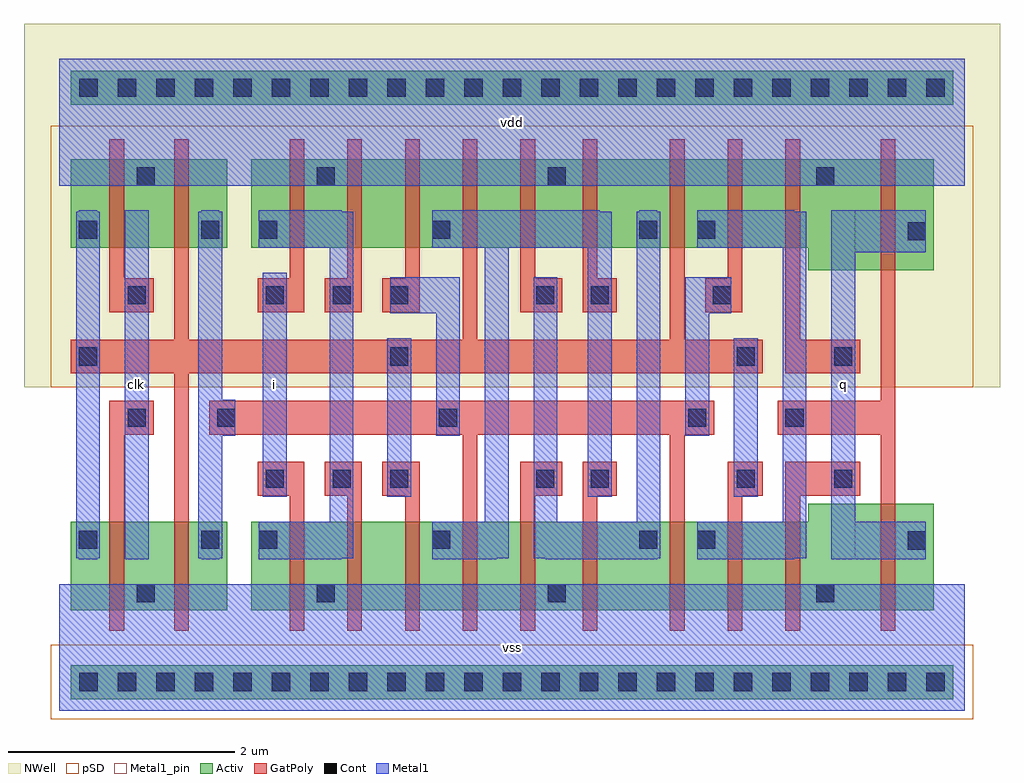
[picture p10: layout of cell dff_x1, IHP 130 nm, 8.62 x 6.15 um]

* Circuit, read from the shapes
.subckt dff_x1 clk i q vdd vss
XM1 vss clk n1 vss sg13_lv_nmos w=0.78u l=0.13u
XM2 n2 n1 vss vss sg13_lv_nmos w=0.78u l=0.13u
XM3 vss i n3 vss sg13_lv_nmos w=0.78u l=0.13u
XM4 n4 n3 vss vss sg13_lv_nmos w=0.78u l=0.13u
XM5 n5 n1 n4 vss sg13_lv_nmos w=0.78u l=0.13u
XM6 n6 n2 n5 vss sg13_lv_nmos w=0.78u l=0.13u
XM7 vss n7 n6 vss sg13_lv_nmos w=0.78u l=0.13u
XM8 n7 n5 vss vss sg13_lv_nmos w=0.78u l=0.13u
XM9 n8 n2 n7 vss sg13_lv_nmos w=0.78u l=0.13u
XM10 n9 n1 n8 vss sg13_lv_nmos w=0.78u l=0.13u
XM11 vss q n9 vss sg13_lv_nmos w=0.78u l=0.13u
XM12 q n8 vss vss sg13_lv_nmos w=0.94u l=0.13u
XM13 vdd clk n1 vdd sg13_lv_pmos w=0.78u l=0.13u
XM14 n2 n1 vdd vdd sg13_lv_pmos w=0.78u l=0.13u
XM15 vdd i n3 vdd sg13_lv_pmos w=0.78u l=0.13u
XM16 n10 n3 vdd vdd sg13_lv_pmos w=0.78u l=0.13u
XM17 n5 n2 n10 vdd sg13_lv_pmos w=0.78u l=0.13u
XM18 n11 n1 n5 vdd sg13_lv_pmos w=0.78u l=0.13u
XM19 vdd n7 n11 vdd sg13_lv_pmos w=0.78u l=0.13u
XM20 n7 n5 vdd vdd sg13_lv_pmos w=0.78u l=0.13u
XM21 n8 n1 n7 vdd sg13_lv_pmos w=0.78u l=0.13u
XM22 n12 n2 n8 vdd sg13_lv_pmos w=0.78u l=0.13u
XM23 vdd q n12 vdd sg13_lv_pmos w=0.78u l=0.13u
XM24 q n8 vdd vdd sg13_lv_pmos w=0.98u l=0.13u
.ends

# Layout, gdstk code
import gdstk
lib = gdstk.Library(unit=1e-6, precision=1e-09)
def R(c, l, rs):  # rectangles x0, y0, x1, y1
    for r in rs: c.add(gdstk.rectangle(r[:2], r[2:], *l))
def P(c, l, *ps):  # polygons
    for p in ps: c.add(gdstk.Polygon(p, *l))
Activ = (1, 0)
GatPoly = (5, 0)
Cont = (6, 0)
Metal1 = (8, 0)
Metal1_pin = (8, 2)
pSD = (14, 0)
NWell = (31, 0)

dff_x1 = lib.new_cell('dff_x1')
P(dff_x1, Activ, [(5.565,4.09),(5.565,4.87),(5.865,4.87),(5.865,4.09),(5.565,4.09)],
  [(5.595,0.89),(5.595,1.67),(5.835,1.67),(5.835,0.89),(5.595,0.89)],
  [(5.525,0.89),(5.525,1.67),(5.755,1.67),(5.755,0.89),(5.525,0.89)],
  [(5.565,0.89),(5.565,1.67),(5.865,1.67),(5.865,0.89),(5.565,0.89)],
  [(5.525,4.09),(5.525,4.87),(5.755,4.87),(5.755,4.09),(5.525,4.09)],
  [(5.675,0.89),(5.675,1.67),(5.905,1.67),(5.905,0.89),(5.675,0.89)],
  [(5.565,4.1),(5.565,4.4),(5.865,4.4),(5.865,4.1),(5.565,4.1)],
  [(5.595,4.09),(5.595,4.87),(5.835,4.87),(5.835,4.09),(5.595,4.09)],
  [(5.675,4.09),(5.675,4.87),(5.905,4.87),(5.905,4.09),(5.675,4.09)],
  [(5.565,1.36),(5.565,1.66),(5.865,1.66),(5.865,1.36),(5.565,1.36)],
  [(3.225,1.36),(3.225,1.66),(3.525,1.66),(3.525,1.36),(3.225,1.36)],
  [(3.255,4.09),(3.255,4.87),(3.495,4.87),(3.495,4.09),(3.255,4.09)],
  [(3.185,4.09),(3.185,4.87),(3.415,4.87),(3.415,4.09),(3.185,4.09)],
  [(3.225,4.09),(3.225,4.87),(3.525,4.87),(3.525,4.09),(3.225,4.09)],
  [(3.335,4.09),(3.335,4.87),(3.565,4.87),(3.565,4.09),(3.335,4.09)],
  [(3.255,0.89),(3.255,1.67),(3.495,1.67),(3.495,0.89),(3.255,0.89)],
  [(3.225,4.1),(3.225,4.4),(3.525,4.4),(3.525,4.1),(3.225,4.1)],
  [(3.335,0.89),(3.335,1.67),(3.565,1.67),(3.565,0.89),(3.335,0.89)],
  [(3.225,0.89),(3.225,1.67),(3.525,1.67),(3.525,0.89),(3.225,0.89)],
  [(3.185,0.89),(3.185,1.67),(3.415,1.67),(3.415,0.89),(3.185,0.89)],
  [(0.215,4.09),(0.215,4.87),(0.445,4.87),(0.445,4.09),(0.215,4.09)],
  [(0.105,4.09),(0.105,4.87),(0.405,4.87),(0.405,4.09),(0.105,4.09)],
  [(0.105,1.36),(0.105,1.66),(0.405,1.66),(0.405,1.36),(0.105,1.36)],
  [(0.105,4.09),(0.105,4.87),(0.375,4.87),(0.375,4.09),(0.105,4.09)],
  [(0.105,0.89),(0.105,1.67),(0.405,1.67),(0.405,0.89),(0.105,0.89)],
  [(0.105,4.1),(0.105,4.4),(0.405,4.4),(0.405,4.1),(0.105,4.1)],
  [(0.105,0.89),(0.105,1.67),(0.375,1.67),(0.375,0.89),(0.105,0.89)],
  [(0.215,0.89),(0.215,1.67),(0.445,1.67),(0.445,0.89),(0.215,0.89)],
  [(1.215,4.09),(1.215,4.87),(1.485,4.87),(1.485,4.09),(1.215,4.09)],
  [(1.185,4.09),(1.185,4.87),(1.485,4.87),(1.485,4.09),(1.185,4.09)],
  [(1.185,1.36),(1.185,1.66),(1.485,1.66),(1.485,1.36),(1.185,1.36)],
  [(1.185,4.1),(1.185,4.4),(1.485,4.4),(1.485,4.1),(1.185,4.1)],
  [(1.145,4.09),(1.145,4.87),(1.375,4.87),(1.375,4.09),(1.145,4.09)],
  [(1.185,0.89),(1.185,1.67),(1.485,1.67),(1.485,0.89),(1.185,0.89)],
  [(1.145,0.89),(1.145,1.67),(1.375,1.67),(1.375,0.89),(1.145,0.89)],
  [(1.215,0.89),(1.215,1.67),(1.485,1.67),(1.485,0.89),(1.215,0.89)],
  [(1.695,4.09),(1.695,4.87),(1.995,4.87),(1.995,4.09),(1.695,4.09)],
  [(1.805,4.09),(1.805,4.87),(2.035,4.87),(2.035,4.09),(1.805,4.09)],
  [(1.805,0.89),(1.805,1.67),(2.035,1.67),(2.035,0.89),(1.805,0.89)],
  [(1.695,0.89),(1.695,1.67),(1.995,1.67),(1.995,0.89),(1.695,0.89)],
  [(1.695,4.1),(1.695,4.4),(1.995,4.4),(1.995,4.1),(1.695,4.1)],
  [(1.695,0.89),(1.695,1.67),(1.965,1.67),(1.965,0.89),(1.695,0.89)],
  [(1.695,1.36),(1.695,1.66),(1.995,1.66),(1.995,1.36),(1.695,1.36)],
  [(1.695,4.09),(1.695,4.87),(1.965,4.87),(1.965,4.09),(1.695,4.09)],
  [(0.615,0.89),(0.615,1.19),(0.915,1.19),(0.915,0.89),(0.615,0.89)],
  [(4.075,0.89),(4.075,1.67),(4.205,1.67),(4.205,0.89),(4.075,0.89)],
  [(2.165,0.89),(2.165,1.67),(2.395,1.67),(2.395,0.89),(2.165,0.89)],
  [(7.255,0.89),(7.255,1.83),(7.385,1.83),(7.385,0.89),(7.255,0.89)],
  [(4.625,0.89),(4.625,1.67),(4.755,1.67),(4.755,0.89),(4.625,0.89)],
  [(5.905,0.89),(5.905,1.67),(6.035,1.67),(6.035,0.89),(5.905,0.89)],
  [(2.545,0.89),(2.545,1.67),(2.675,1.67),(2.675,0.89),(2.545,0.89)],
  [(4.245,0.89),(4.245,1.19),(4.545,1.19),(4.545,0.89),(4.245,0.89)],
  [(6.545,0.89),(6.545,1.67),(6.775,1.67),(6.775,0.89),(6.545,0.89)],
  [(6.415,0.89),(6.415,1.67),(6.545,1.67),(6.545,0.89),(6.415,0.89)],
  [(7.025,0.89),(7.025,1.83),(7.255,1.83),(7.255,0.89),(7.025,0.89)],
  [(5.395,0.89),(5.395,1.67),(5.525,1.67),(5.525,0.89),(5.395,0.89)],
  [(0.11,0.105),(0.11,0.405),(7.89,0.405),(7.89,0.105),(0.11,0.105)],
  [(6.615,0.89),(6.615,1.83),(6.915,1.83),(6.915,0.89),(6.615,0.89)],
  [(2.035,0.89),(2.035,1.67),(2.165,1.67),(2.165,0.89),(2.035,0.89)],
  [(0.105,0.105),(0.105,0.405),(7.895,0.405),(7.895,0.105),(0.105,0.105)],
  [(0.575,0.89),(0.575,1.67),(0.805,1.67),(0.805,0.89),(0.575,0.89)],
  [(0.445,0.89),(0.445,1.67),(0.575,1.67),(0.575,0.89),(0.445,0.89)],
  [(2.235,0.89),(2.235,1.67),(2.475,1.67),(2.475,0.89),(2.235,0.89)],
  [(4.205,0.89),(4.205,1.67),(4.435,1.67),(4.435,0.89),(4.205,0.89)],
  [(1.015,0.89),(1.015,1.67),(1.145,1.67),(1.145,0.89),(1.015,0.89)],
  [(2.205,0.89),(2.205,1.19),(2.505,1.19),(2.505,0.89),(2.205,0.89)],
  [(0.785,0.89),(0.785,1.67),(1.015,1.67),(1.015,0.89),(0.785,0.89)],
  [(3.565,0.89),(3.565,1.67),(3.695,1.67),(3.695,0.89),(3.565,0.89)],
  [(6.615,0.89),(6.615,1.19),(6.915,1.19),(6.915,0.89),(6.615,0.89)],
  [(4.245,0.89),(4.245,1.67),(4.545,1.67),(4.545,0.89),(4.245,0.89)],
  [(3.055,0.89),(3.055,1.67),(3.185,1.67),(3.185,0.89),(3.055,0.89)],
  [(2.315,0.89),(2.315,1.67),(2.545,1.67),(2.545,0.89),(2.315,0.89)],
  [(0.615,0.89),(0.615,1.67),(0.915,1.67),(0.915,0.89),(0.615,0.89)],
  [(2.205,0.89),(2.205,1.67),(2.505,1.67),(2.505,0.89),(2.205,0.89)],
  [(0.645,0.89),(0.645,1.67),(0.945,1.67),(0.945,0.89),(0.645,0.89)],
  [(4.275,0.89),(4.275,1.67),(4.555,1.67),(4.555,0.89),(4.275,0.89)],
  [(6.615,0.89),(6.615,1.83),(7.185,1.83),(7.185,0.89),(6.615,0.89)],
  [(4.395,0.89),(4.395,1.67),(4.625,1.67),(4.625,0.89),(4.395,0.89)],
  [(3.565,4.09),(3.565,4.87),(3.695,4.87),(3.695,4.09),(3.565,4.09)],
  [(2.315,4.09),(2.315,4.87),(2.545,4.87),(2.545,4.09),(2.315,4.09)],
  [(4.395,4.09),(4.395,4.87),(4.625,4.87),(4.625,4.09),(4.395,4.09)],
  [(0.785,4.09),(0.785,4.87),(1.015,4.87),(1.015,4.09),(0.785,4.09)],
  [(6.615,4.57),(6.615,4.87),(6.915,4.87),(6.915,4.57),(6.615,4.57)],
  [(6.615,3.89),(6.615,4.87),(6.915,4.87),(6.915,3.89),(6.615,3.89)],
  [(0.11,5.355),(0.11,5.655),(7.89,5.655),(7.89,5.355),(0.11,5.355)],
  [(0.615,4.09),(0.615,4.87),(0.915,4.87),(0.915,4.09),(0.615,4.09)],
  [(6.415,4.09),(6.415,4.87),(6.545,4.87),(6.545,4.09),(6.415,4.09)],
  [(4.205,4.09),(4.205,4.87),(4.435,4.87),(4.435,4.09),(4.205,4.09)],
  [(2.205,4.57),(2.205,4.87),(2.505,4.87),(2.505,4.57),(2.205,4.57)],
  [(3.055,4.09),(3.055,4.87),(3.185,4.87),(3.185,4.09),(3.055,4.09)],
  [(5.905,4.09),(5.905,4.87),(6.035,4.87),(6.035,4.09),(5.905,4.09)],
  [(2.165,4.09),(2.165,4.87),(2.395,4.87),(2.395,4.09),(2.165,4.09)],
  [(2.035,4.09),(2.035,4.87),(2.165,4.87),(2.165,4.09),(2.035,4.09)],
  [(7.025,3.89),(7.025,4.87),(7.255,4.87),(7.255,3.89),(7.025,3.89)],
  [(0.575,4.09),(0.575,4.87),(0.805,4.87),(0.805,4.09),(0.575,4.09)],
  [(2.205,4.09),(2.205,4.87),(2.505,4.87),(2.505,4.09),(2.205,4.09)],
  [(4.245,4.57),(4.245,4.87),(4.545,4.87),(4.545,4.57),(4.245,4.57)],
  [(1.015,4.09),(1.015,4.87),(1.145,4.87),(1.145,4.09),(1.015,4.09)],
  [(0.615,4.57),(0.615,4.87),(0.915,4.87),(0.915,4.57),(0.615,4.57)],
  [(2.235,4.09),(2.235,4.87),(2.475,4.87),(2.475,4.09),(2.235,4.09)],
  [(4.245,4.09),(4.245,4.87),(4.545,4.87),(4.545,4.09),(4.245,4.09)],
  [(4.625,4.09),(4.625,4.87),(4.755,4.87),(4.755,4.09),(4.625,4.09)],
  [(0.445,4.09),(0.445,4.87),(0.575,4.87),(0.575,4.09),(0.445,4.09)],
  [(0.105,5.355),(0.105,5.655),(7.895,5.655),(7.895,5.355),(0.105,5.355)],
  [(7.255,3.89),(7.255,4.87),(7.385,4.87),(7.385,3.89),(7.255,3.89)],
  [(6.545,4.09),(6.545,4.87),(6.775,4.87),(6.775,4.09),(6.545,4.09)],
  [(4.275,4.09),(4.275,4.87),(4.555,4.87),(4.555,4.09),(4.275,4.09)],
  [(2.545,4.09),(2.545,4.87),(2.675,4.87),(2.675,4.09),(2.545,4.09)],
  [(0.645,4.09),(0.645,4.87),(0.945,4.87),(0.945,4.09),(0.645,4.09)],
  [(4.075,4.09),(4.075,4.87),(4.205,4.87),(4.205,4.09),(4.075,4.09)],
  [(5.395,4.09),(5.395,4.87),(5.525,4.87),(5.525,4.09),(5.395,4.09)],
  [(6.615,3.89),(6.615,4.87),(7.185,4.87),(7.185,3.89),(6.615,3.89)],
  [(7.425,0.89),(7.425,1.83),(7.725,1.83),(7.725,0.89),(7.425,0.89)],
  [(7.385,0.89),(7.385,1.83),(7.615,1.83),(7.615,0.89),(7.385,0.89)],
  [(7.455,3.89),(7.455,4.87),(7.725,4.87),(7.725,3.89),(7.455,3.89)],
  [(7.425,3.89),(7.425,4.87),(7.725,4.87),(7.725,3.89),(7.425,3.89)],
  [(7.385,3.89),(7.385,4.87),(7.615,4.87),(7.615,3.89),(7.385,3.89)],
  [(7.455,0.89),(7.455,1.83),(7.725,1.83),(7.725,0.89),(7.455,0.89)],
  [(7.425,4.085),(7.425,4.385),(7.725,4.385),(7.725,4.085),(7.425,4.085)],
  [(7.425,1.355),(7.425,1.655),(7.725,1.655),(7.725,1.355),(7.425,1.355)],
  [(2.675,0.89),(2.675,1.67),(2.905,1.67),(2.905,0.89),(2.675,0.89)],
  [(2.745,0.89),(2.745,1.67),(2.985,1.67),(2.985,0.89),(2.745,0.89)],
  [(2.68,0.89),(2.68,1.67),(3.05,1.67),(3.05,0.89),(2.68,0.89)],
  [(2.825,0.89),(2.825,1.67),(3.055,1.67),(3.055,0.89),(2.825,0.89)],
  [(5.055,4.1),(5.055,4.4),(5.355,4.4),(5.355,4.1),(5.055,4.1)],
  [(4.755,0.89),(4.755,1.67),(4.985,1.67),(4.985,0.89),(4.755,0.89)],
  [(5.055,0.89),(5.055,1.67),(5.355,1.67),(5.355,0.89),(5.055,0.89)],
  [(5.165,0.89),(5.165,1.67),(5.395,1.67),(5.395,0.89),(5.165,0.89)],
  [(5.055,1.36),(5.055,1.66),(5.355,1.66),(5.355,1.36),(5.055,1.36)],
  [(4.755,4.09),(4.755,4.87),(4.985,4.87),(4.985,4.09),(4.755,4.09)],
  [(4.825,0.89),(4.825,1.67),(5.325,1.67),(5.325,0.89),(4.825,0.89)],
  [(5.165,4.09),(5.165,4.87),(5.395,4.87),(5.395,4.09),(5.165,4.09)],
  [(5.055,4.09),(5.055,4.87),(5.355,4.87),(5.355,4.09),(5.055,4.09)],
  [(4.825,4.09),(4.825,4.87),(5.325,4.87),(5.325,4.09),(4.825,4.09)],
  [(6.04,4.09),(6.04,4.87),(6.41,4.87),(6.41,4.09),(6.04,4.09)],
  [(6.105,4.09),(6.105,4.87),(6.345,4.87),(6.345,4.09),(6.105,4.09)],
  [(6.035,4.09),(6.035,4.87),(6.265,4.87),(6.265,4.09),(6.035,4.09)],
  [(6.185,4.09),(6.185,4.87),(6.415,4.87),(6.415,4.09),(6.185,4.09)],
  [(6.04,0.89),(6.04,1.67),(6.41,1.67),(6.41,0.89),(6.04,0.89)],
  [(6.035,0.89),(6.035,1.67),(6.265,1.67),(6.265,0.89),(6.035,0.89)],
  [(6.185,0.89),(6.185,1.67),(6.415,1.67),(6.415,0.89),(6.185,0.89)],
  [(6.105,0.89),(6.105,1.67),(6.345,1.67),(6.345,0.89),(6.105,0.89)],
  [(3.7,4.09),(3.7,4.87),(4.07,4.87),(4.07,4.09),(3.7,4.09)],
  [(3.845,4.09),(3.845,4.87),(4.075,4.87),(4.075,4.09),(3.845,4.09)],
  [(3.695,4.09),(3.695,4.87),(3.925,4.87),(3.925,4.09),(3.695,4.09)],
  [(3.765,4.09),(3.765,4.87),(4.005,4.87),(4.005,4.09),(3.765,4.09)],
  [(3.845,0.89),(3.845,1.67),(4.075,1.67),(4.075,0.89),(3.845,0.89)],
  [(3.695,0.89),(3.695,1.67),(3.925,1.67),(3.925,0.89),(3.695,0.89)],
  [(3.765,0.89),(3.765,1.67),(4.005,1.67),(4.005,0.89),(3.765,0.89)],
  [(3.7,0.89),(3.7,1.67),(4.07,1.67),(4.07,0.89),(3.7,0.89)],
  [(2.675,4.09),(2.675,4.87),(2.905,4.87),(2.905,4.09),(2.675,4.09)],
  [(2.68,4.09),(2.68,4.87),(3.05,4.87),(3.05,4.09),(2.68,4.09)],
  [(2.745,4.09),(2.745,4.87),(2.985,4.87),(2.985,4.09),(2.745,4.09)],
  [(2.825,4.09),(2.825,4.87),(3.055,4.87),(3.055,4.09),(2.825,4.09)])
P(dff_x1, GatPoly, [(7.255,3.71),(7.255,5.05),(7.385,5.05),(7.385,3.71),(7.255,3.71)],
  [(7.255,0.71),(7.255,2.01),(7.385,2.01),(7.385,0.71),(7.255,0.71)],
  [(6.345,2.44),(6.345,2.74),(6.645,2.74),(6.645,2.44),(6.345,2.44)],
  [(6.495,2.44),(6.495,2.74),(7.32,2.74),(7.32,2.44),(6.495,2.44)],
  [(7.255,0.71),(7.255,3.71),(7.385,3.71),(7.385,0.71),(7.255,0.71)],
  [(4.69,1.9),(4.69,2.2),(4.775,2.2),(4.775,1.9),(4.69,1.9)],
  [(4.625,3.52),(4.625,5.05),(4.755,5.05),(4.755,3.52),(4.625,3.52)],
  [(4.625,3.91),(4.625,5.05),(4.755,5.05),(4.755,3.91),(4.625,3.91)],
  [(4.625,1.9),(4.625,2.2),(4.925,2.2),(4.925,1.9),(4.625,1.9)],
  [(4.625,3.52),(4.625,3.82),(4.925,3.82),(4.925,3.52),(4.625,3.52)],
  [(4.625,0.71),(4.625,1.85),(4.755,1.85),(4.755,0.71),(4.625,0.71)],
  [(4.69,3.52),(4.69,3.82),(4.775,3.82),(4.775,3.52),(4.69,3.52)],
  [(4.625,0.71),(4.625,2.2),(4.755,2.2),(4.755,0.71),(4.625,0.71)],
  [(0.255,2.98),(0.255,3.28),(6.065,3.28),(6.065,2.98),(0.255,2.98)],
  [(5.905,0.71),(5.905,1.85),(6.035,1.85),(6.035,0.71),(5.905,0.71)],
  [(5.97,1.9),(5.97,2.2),(6.065,2.2),(6.065,1.9),(5.97,1.9)],
  [(5.915,2.98),(5.915,3.28),(6.215,3.28),(6.215,2.98),(5.915,2.98)],
  [(1.015,0.71),(1.015,3.91),(1.145,3.91),(1.145,0.71),(1.015,0.71)],
  [(2.855,1.9),(2.855,2.2),(3.155,2.2),(3.155,1.9),(2.855,1.9)],
  [(5.395,2.98),(5.395,5.05),(5.525,5.05),(5.525,2.98),(5.395,2.98)],
  [(5.915,1.9),(5.915,2.2),(6.215,2.2),(6.215,1.9),(5.915,1.9)],
  [(1.015,0.71),(1.015,1.85),(1.145,1.85),(1.145,0.71),(1.015,0.71)],
  [(5.905,0.71),(5.905,2.2),(6.035,2.2),(6.035,0.71),(5.905,0.71)],
  [(0.105,2.98),(0.105,3.28),(0.405,3.28),(0.405,2.98),(0.105,2.98)],
  [(3.055,0.71),(3.055,1.85),(3.185,1.85),(3.185,0.71),(3.055,0.71)],
  [(1.015,3.91),(1.015,5.05),(1.145,5.05),(1.145,3.91),(1.015,3.91)],
  [(3.565,3.91),(3.565,5.05),(3.695,5.05),(3.695,3.91),(3.565,3.91)],
  [(3.565,2.98),(3.565,5.05),(3.695,5.05),(3.695,2.98),(3.565,2.98)],
  [(3.005,1.9),(3.005,2.2),(3.12,2.2),(3.12,1.9),(3.005,1.9)],
  [(3.055,0.71),(3.055,2.2),(3.185,2.2),(3.185,0.71),(3.055,0.71)],
  [(5.395,3.91),(5.395,5.05),(5.525,5.05),(5.525,3.91),(5.395,3.91)],
  [(2.855,2.98),(2.855,3.28),(3.155,3.28),(3.155,2.98),(2.855,2.98)],
  [(1.475,2.44),(1.475,2.74),(5.635,2.74),(5.635,2.44),(1.475,2.44)],
  [(5.705,3.52),(5.705,3.82),(6.005,3.82),(6.005,3.52),(5.705,3.52)],
  [(1.325,2.44),(1.325,2.74),(1.625,2.74),(1.625,2.44),(1.325,2.44)],
  [(5.855,3.52),(5.855,3.82),(5.97,3.82),(5.97,3.52),(5.855,3.52)],
  [(3.055,3.91),(3.055,5.05),(3.185,5.05),(3.185,3.91),(3.055,3.91)],
  [(3.565,0.71),(3.565,1.85),(3.695,1.85),(3.695,0.71),(3.565,0.71)],
  [(3.565,0.71),(3.565,2.74),(3.695,2.74),(3.695,0.71),(3.565,0.71)],
  [(5.905,3.91),(5.905,5.05),(6.035,5.05),(6.035,3.91),(5.905,3.91)],
  [(5.395,0.71),(5.395,2.74),(5.525,2.74),(5.525,0.71),(5.395,0.71)],
  [(3.055,3.52),(3.055,5.05),(3.185,5.05),(3.185,3.52),(3.055,3.52)],
  [(5.395,0.71),(5.395,1.85),(5.525,1.85),(5.525,0.71),(5.395,0.71)],
  [(3.005,3.52),(3.005,3.82),(3.12,3.82),(3.12,3.52),(3.005,3.52)],
  [(2.855,3.52),(2.855,3.82),(3.155,3.82),(3.155,3.52),(2.855,3.52)],
  [(5.485,2.44),(5.485,2.74),(5.785,2.74),(5.785,2.44),(5.485,2.44)],
  [(3.285,2.44),(3.285,2.74),(3.585,2.74),(3.585,2.44),(3.285,2.44)],
  [(5.905,3.52),(5.905,5.05),(6.035,5.05),(6.035,3.52),(5.905,3.52)],
  [(2.545,0.71),(2.545,1.85),(2.675,1.85),(2.675,0.71),(2.545,0.71)],
  [(2.545,0.71),(2.545,2.2),(2.675,2.2),(2.675,0.71),(2.545,0.71)],
  [(2.345,1.9),(2.345,2.2),(2.645,2.2),(2.645,1.9),(2.345,1.9)],
  [(2.545,3.91),(2.545,5.05),(2.675,5.05),(2.675,3.91),(2.545,3.91)],
  [(2.495,1.9),(2.495,2.2),(2.61,2.2),(2.61,1.9),(2.495,1.9)],
  [(2.345,3.52),(2.345,3.82),(2.645,3.82),(2.645,3.52),(2.345,3.52)],
  [(2.495,3.52),(2.495,3.82),(2.61,3.82),(2.61,3.52),(2.495,3.52)],
  [(2.545,3.52),(2.545,5.05),(2.675,5.05),(2.675,3.52),(2.545,3.52)],
  [(6.415,2.98),(6.415,5.05),(6.545,5.05),(6.545,2.98),(6.415,2.98)],
  [(6.415,0.71),(6.415,1.85),(6.545,1.85),(6.545,0.71),(6.415,0.71)],
  [(6.48,1.9),(6.48,2.2),(6.925,2.2),(6.925,1.9),(6.48,1.9)],
  [(6.415,3.91),(6.415,5.05),(6.545,5.05),(6.545,3.91),(6.415,3.91)],
  [(6.775,1.9),(6.775,2.2),(7.075,2.2),(7.075,1.9),(6.775,1.9)],
  [(6.415,0.71),(6.415,2.2),(6.545,2.2),(6.545,0.71),(6.415,0.71)],
  [(6.48,2.98),(6.48,3.28),(6.925,3.28),(6.925,2.98),(6.48,2.98)],
  [(6.775,2.98),(6.775,3.28),(7.075,3.28),(7.075,2.98),(6.775,2.98)],
  [(0.535,2.44),(0.535,2.74),(0.835,2.74),(0.835,2.44),(0.535,2.44)],
  [(0.445,3.91),(0.445,5.05),(0.575,5.05),(0.575,3.91),(0.445,3.91)],
  [(0.51,3.52),(0.51,3.82),(0.685,3.82),(0.685,3.52),(0.51,3.52)],
  [(0.445,0.71),(0.445,2.74),(0.575,2.74),(0.575,0.71),(0.445,0.71)],
  [(0.51,2.44),(0.51,2.74),(0.685,2.74),(0.685,2.44),(0.51,2.44)],
  [(0.445,3.52),(0.445,5.05),(0.575,5.05),(0.575,3.52),(0.445,3.52)],
  [(0.445,0.71),(0.445,1.85),(0.575,1.85),(0.575,0.71),(0.445,0.71)],
  [(0.535,3.52),(0.535,3.82),(0.835,3.82),(0.835,3.52),(0.535,3.52)],
  [(4.14,1.9),(4.14,2.2),(4.295,2.2),(4.295,1.9),(4.14,1.9)],
  [(4.145,3.52),(4.145,3.82),(4.445,3.82),(4.445,3.52),(4.145,3.52)],
  [(4.145,1.9),(4.145,2.2),(4.445,2.2),(4.445,1.9),(4.145,1.9)],
  [(4.075,0.71),(4.075,1.85),(4.205,1.85),(4.205,0.71),(4.075,0.71)],
  [(4.075,0.71),(4.075,2.2),(4.205,2.2),(4.205,0.71),(4.075,0.71)],
  [(4.14,3.52),(4.14,3.82),(4.295,3.82),(4.295,3.52),(4.14,3.52)],
  [(4.075,3.91),(4.075,5.05),(4.205,5.05),(4.205,3.91),(4.075,3.91)],
  [(4.075,3.52),(4.075,5.05),(4.205,5.05),(4.205,3.52),(4.075,3.52)],
  [(2.035,0.71),(2.035,1.85),(2.165,1.85),(2.165,0.71),(2.035,0.71)],
  [(2.035,3.91),(2.035,5.05),(2.165,5.05),(2.165,3.91),(2.035,3.91)],
  [(1.755,1.9),(1.755,2.2),(2.055,2.2),(2.055,1.9),(1.755,1.9)],
  [(1.755,3.52),(1.755,3.82),(2.055,3.82),(2.055,3.52),(1.755,3.52)],
  [(1.905,1.9),(1.905,2.2),(2.1,2.2),(2.1,1.9),(1.905,1.9)],
  [(2.035,0.71),(2.035,2.2),(2.165,2.2),(2.165,0.71),(2.035,0.71)],
  [(2.035,3.52),(2.035,5.05),(2.165,5.05),(2.165,3.52),(2.035,3.52)],
  [(1.905,3.52),(1.905,3.82),(2.1,3.82),(2.1,3.52),(1.905,3.52)])
P(dff_x1, Cont, [(6.415,2.51),(6.415,2.67),(6.575,2.67),(6.575,2.51),(6.415,2.51)],
  [(5.635,1.43),(5.635,1.59),(5.795,1.59),(5.795,1.43),(5.635,1.43)],
  [(5.635,4.17),(5.635,4.33),(5.795,4.33),(5.795,4.17),(5.635,4.17)],
  [(3.295,4.17),(3.295,4.33),(3.455,4.33),(3.455,4.17),(3.295,4.17)],
  [(3.295,1.43),(3.295,1.59),(3.455,1.59),(3.455,1.43),(3.295,1.43)],
  [(4.695,3.59),(4.695,3.75),(4.855,3.75),(4.855,3.59),(4.695,3.59)],
  [(4.695,1.97),(4.695,2.13),(4.855,2.13),(4.855,1.97),(4.695,1.97)],
  [(2.925,3.05),(2.925,3.21),(3.085,3.21),(3.085,3.05),(2.925,3.05)],
  [(2.925,1.97),(2.925,2.13),(3.085,2.13),(3.085,1.97),(2.925,1.97)],
  [(5.985,1.97),(5.985,2.13),(6.145,2.13),(6.145,1.97),(5.985,1.97)],
  [(0.175,1.43),(0.175,1.59),(0.335,1.59),(0.335,1.43),(0.175,1.43)],
  [(0.175,4.17),(0.175,4.33),(0.335,4.33),(0.335,4.17),(0.175,4.17)],
  [(0.175,3.05),(0.175,3.21),(0.335,3.21),(0.335,3.05),(0.175,3.05)],
  [(5.985,3.05),(5.985,3.21),(6.145,3.21),(6.145,3.05),(5.985,3.05)],
  [(5.555,2.51),(5.555,2.67),(5.715,2.67),(5.715,2.51),(5.555,2.51)],
  [(1.395,2.51),(1.395,2.67),(1.555,2.67),(1.555,2.51),(1.395,2.51)],
  [(5.775,3.59),(5.775,3.75),(5.935,3.75),(5.935,3.59),(5.775,3.59)],
  [(2.925,3.59),(2.925,3.75),(3.085,3.75),(3.085,3.59),(2.925,3.59)],
  [(1.255,1.43),(1.255,1.59),(1.415,1.59),(1.415,1.43),(1.255,1.43)],
  [(3.355,2.51),(3.355,2.67),(3.515,2.67),(3.515,2.51),(3.355,2.51)],
  [(1.255,4.17),(1.255,4.33),(1.415,4.33),(1.415,4.17),(1.255,4.17)],
  [(1.765,4.17),(1.765,4.33),(1.925,4.33),(1.925,4.17),(1.765,4.17)],
  [(2.415,1.97),(2.415,2.13),(2.575,2.13),(2.575,1.97),(2.415,1.97)],
  [(2.415,3.59),(2.415,3.75),(2.575,3.75),(2.575,3.59),(2.415,3.59)],
  [(1.765,1.43),(1.765,1.59),(1.925,1.59),(1.925,1.43),(1.765,1.43)],
  [(2.275,0.96),(2.275,1.12),(2.435,1.12),(2.435,0.96),(2.275,0.96)],
  [(0.18,0.175),(0.18,0.335),(0.34,0.335),(0.34,0.175),(0.18,0.175)],
  [(0.52,0.175),(0.52,0.335),(0.68,0.335),(0.68,0.175),(0.52,0.175)],
  [(6.685,0.96),(6.685,1.12),(6.845,1.12),(6.845,0.96),(6.685,0.96)],
  [(4.315,0.96),(4.315,1.12),(4.475,1.12),(4.475,0.96),(4.315,0.96)],
  [(0.685,0.96),(0.685,1.12),(0.845,1.12),(0.845,0.96),(0.685,0.96)],
  [(7.66,0.175),(7.66,0.335),(7.82,0.335),(7.82,0.175),(7.66,0.175)],
  [(7.32,0.175),(7.32,0.335),(7.48,0.335),(7.48,0.175),(7.32,0.175)],
  [(6.98,0.175),(6.98,0.335),(7.14,0.335),(7.14,0.175),(6.98,0.175)],
  [(6.64,0.175),(6.64,0.335),(6.8,0.335),(6.8,0.175),(6.64,0.175)],
  [(6.3,0.175),(6.3,0.335),(6.46,0.335),(6.46,0.175),(6.3,0.175)],
  [(5.96,0.175),(5.96,0.335),(6.12,0.335),(6.12,0.175),(5.96,0.175)],
  [(5.62,0.175),(5.62,0.335),(5.78,0.335),(5.78,0.175),(5.62,0.175)],
  [(5.28,0.175),(5.28,0.335),(5.44,0.335),(5.44,0.175),(5.28,0.175)],
  [(4.94,0.175),(4.94,0.335),(5.1,0.335),(5.1,0.175),(4.94,0.175)],
  [(4.6,0.175),(4.6,0.335),(4.76,0.335),(4.76,0.175),(4.6,0.175)],
  [(4.26,0.175),(4.26,0.335),(4.42,0.335),(4.42,0.175),(4.26,0.175)],
  [(3.92,0.175),(3.92,0.335),(4.08,0.335),(4.08,0.175),(3.92,0.175)],
  [(3.58,0.175),(3.58,0.335),(3.74,0.335),(3.74,0.175),(3.58,0.175)],
  [(3.24,0.175),(3.24,0.335),(3.4,0.335),(3.4,0.175),(3.24,0.175)],
  [(2.9,0.175),(2.9,0.335),(3.06,0.335),(3.06,0.175),(2.9,0.175)],
  [(2.56,0.175),(2.56,0.335),(2.72,0.335),(2.72,0.175),(2.56,0.175)],
  [(2.22,0.175),(2.22,0.335),(2.38,0.335),(2.38,0.175),(2.22,0.175)],
  [(0.86,0.175),(0.86,0.335),(1.02,0.335),(1.02,0.175),(0.86,0.175)],
  [(1.2,0.175),(1.2,0.335),(1.36,0.335),(1.36,0.175),(1.2,0.175)],
  [(1.54,0.175),(1.54,0.335),(1.7,0.335),(1.7,0.175),(1.54,0.175)],
  [(1.88,0.175),(1.88,0.335),(2.04,0.335),(2.04,0.175),(1.88,0.175)],
  [(2.22,5.425),(2.22,5.585),(2.38,5.585),(2.38,5.425),(2.22,5.425)],
  [(1.88,5.425),(1.88,5.585),(2.04,5.585),(2.04,5.425),(1.88,5.425)],
  [(1.54,5.425),(1.54,5.585),(1.7,5.585),(1.7,5.425),(1.54,5.425)],
  [(1.2,5.425),(1.2,5.585),(1.36,5.585),(1.36,5.425),(1.2,5.425)],
  [(0.86,5.425),(0.86,5.585),(1.02,5.585),(1.02,5.425),(0.86,5.425)],
  [(0.52,5.425),(0.52,5.585),(0.68,5.585),(0.68,5.425),(0.52,5.425)],
  [(0.18,5.425),(0.18,5.585),(0.34,5.585),(0.34,5.425),(0.18,5.425)],
  [(2.275,4.64),(2.275,4.8),(2.435,4.8),(2.435,4.64),(2.275,4.64)],
  [(0.685,4.64),(0.685,4.8),(0.845,4.8),(0.845,4.64),(0.685,4.64)],
  [(6.685,4.64),(6.685,4.8),(6.845,4.8),(6.845,4.64),(6.685,4.64)],
  [(4.315,4.64),(4.315,4.8),(4.475,4.8),(4.475,4.64),(4.315,4.64)],
  [(7.66,5.425),(7.66,5.585),(7.82,5.585),(7.82,5.425),(7.66,5.425)],
  [(7.32,5.425),(7.32,5.585),(7.48,5.585),(7.48,5.425),(7.32,5.425)],
  [(6.98,5.425),(6.98,5.585),(7.14,5.585),(7.14,5.425),(6.98,5.425)],
  [(6.64,5.425),(6.64,5.585),(6.8,5.585),(6.8,5.425),(6.64,5.425)],
  [(6.3,5.425),(6.3,5.585),(6.46,5.585),(6.46,5.425),(6.3,5.425)],
  [(5.96,5.425),(5.96,5.585),(6.12,5.585),(6.12,5.425),(5.96,5.425)],
  [(5.62,5.425),(5.62,5.585),(5.78,5.585),(5.78,5.425),(5.62,5.425)],
  [(5.28,5.425),(5.28,5.585),(5.44,5.585),(5.44,5.425),(5.28,5.425)],
  [(4.94,5.425),(4.94,5.585),(5.1,5.585),(5.1,5.425),(4.94,5.425)],
  [(4.6,5.425),(4.6,5.585),(4.76,5.585),(4.76,5.425),(4.6,5.425)],
  [(4.26,5.425),(4.26,5.585),(4.42,5.585),(4.42,5.425),(4.26,5.425)],
  [(3.92,5.425),(3.92,5.585),(4.08,5.585),(4.08,5.425),(3.92,5.425)],
  [(3.58,5.425),(3.58,5.585),(3.74,5.585),(3.74,5.425),(3.58,5.425)],
  [(3.24,5.425),(3.24,5.585),(3.4,5.585),(3.4,5.425),(3.24,5.425)],
  [(2.9,5.425),(2.9,5.585),(3.06,5.585),(3.06,5.425),(2.9,5.425)],
  [(2.56,5.425),(2.56,5.585),(2.72,5.585),(2.72,5.425),(2.56,5.425)],
  [(6.845,3.05),(6.845,3.21),(7.005,3.21),(7.005,3.05),(6.845,3.05)],
  [(7.495,4.155),(7.495,4.315),(7.655,4.315),(7.655,4.155),(7.495,4.155)],
  [(7.495,1.425),(7.495,1.585),(7.655,1.585),(7.655,1.425),(7.495,1.425)],
  [(6.845,1.97),(6.845,2.13),(7.005,2.13),(7.005,1.97),(6.845,1.97)],
  [(0.605,3.59),(0.605,3.75),(0.765,3.75),(0.765,3.59),(0.605,3.59)],
  [(0.605,2.51),(0.605,2.67),(0.765,2.67),(0.765,2.51),(0.605,2.51)],
  [(5.125,4.17),(5.125,4.33),(5.285,4.33),(5.285,4.17),(5.125,4.17)],
  [(4.215,3.59),(4.215,3.75),(4.375,3.75),(4.375,3.59),(4.215,3.59)],
  [(5.125,1.43),(5.125,1.59),(5.285,1.59),(5.285,1.43),(5.125,1.43)],
  [(4.215,1.97),(4.215,2.13),(4.375,2.13),(4.375,1.97),(4.215,1.97)],
  [(1.825,3.59),(1.825,3.75),(1.985,3.75),(1.985,3.59),(1.825,3.59)],
  [(1.825,1.97),(1.825,2.13),(1.985,2.13),(1.985,1.97),(1.825,1.97)])
R(dff_x1, Metal1, [(0,0,8,1.12), (0.58,1.34,0.79,4.42), (6.82,1.34,7.03,4.42), (1.8,1.89,2.01,3.87), (0,4.64,8,5.76)])
P(dff_x1, Metal1, [(6.39,1.35),(6.39,4.41),(6.6,4.41),(6.6,1.35),(6.39,1.35)],
  [(5.635,1.35),(5.635,1.67),(5.795,1.67),(5.795,1.35),(5.635,1.35)],
  [(6.415,2.43),(6.415,2.75),(6.575,2.75),(6.575,2.43),(6.415,2.43)],
  [(5.635,1.34),(5.635,1.67),(5.795,1.67),(5.795,1.34),(5.635,1.34)],
  [(6.39,1.35),(6.39,1.67),(6.6,1.67),(6.6,1.35),(6.39,1.35)],
  [(5.635,4.09),(5.635,4.42),(5.795,4.42),(5.795,4.09),(5.635,4.09)],
  [(5.715,1.34),(5.715,1.67),(6.495,1.67),(6.495,1.34),(5.715,1.34)],
  [(5.635,4.09),(5.635,4.41),(5.795,4.41),(5.795,4.09),(5.635,4.09)],
  [(5.715,4.09),(5.715,4.42),(6.495,4.42),(6.495,4.09),(5.715,4.09)],
  [(6.39,4.09),(6.39,4.41),(6.6,4.41),(6.6,4.09),(6.39,4.09)],
  [(3.375,4.09),(3.375,4.42),(4.775,4.42),(4.775,4.09),(3.375,4.09)],
  [(4.67,1.89),(4.67,4.41),(4.88,4.41),(4.88,1.89),(4.67,1.89)],
  [(3.295,1.35),(3.295,1.67),(3.455,1.67),(3.455,1.35),(3.295,1.35)],
  [(3.76,1.35),(3.76,1.67),(3.97,1.67),(3.97,1.35),(3.76,1.35)],
  [(3.76,1.35),(3.76,4.41),(3.97,4.41),(3.97,1.35),(3.76,1.35)],
  [(4.695,1.89),(4.695,2.21),(4.855,2.21),(4.855,1.89),(4.695,1.89)],
  [(3.375,1.34),(3.375,1.67),(3.865,1.67),(3.865,1.34),(3.375,1.34)],
  [(3.295,4.09),(3.295,4.42),(3.455,4.42),(3.455,4.09),(3.295,4.09)],
  [(3.295,1.34),(3.295,1.67),(3.455,1.67),(3.455,1.34),(3.295,1.34)],
  [(4.67,4.09),(4.67,4.41),(4.88,4.41),(4.88,4.09),(4.67,4.09)],
  [(3.295,4.09),(3.295,4.41),(3.455,4.41),(3.455,4.09),(3.295,4.09)],
  [(4.695,3.51),(4.695,3.83),(4.855,3.83),(4.855,3.51),(4.695,3.51)],
  [(3.76,4.09),(3.76,4.41),(3.97,4.41),(3.97,4.09),(3.76,4.09)],
  [(0.175,1.35),(0.175,1.67),(0.335,1.67),(0.335,1.35),(0.175,1.35)],
  [(2.9,1.89),(2.9,3.29),(3.11,3.29),(3.11,1.89),(2.9,1.89)],
  [(0.15,1.35),(0.15,4.41),(0.36,4.41),(0.36,1.35),(0.15,1.35)],
  [(0.175,1.34),(0.175,1.67),(0.335,1.67),(0.335,1.34),(0.175,1.34)],
  [(5.985,2.97),(5.985,3.29),(6.145,3.29),(6.145,2.97),(5.985,2.97)],
  [(2.925,1.89),(2.925,2.21),(3.085,2.21),(3.085,1.89),(2.925,1.89)],
  [(2.925,2.97),(2.925,3.29),(3.085,3.29),(3.085,2.97),(2.925,2.97)],
  [(0.175,4.09),(0.175,4.42),(0.335,4.42),(0.335,4.09),(0.175,4.09)],
  [(5.96,1.89),(5.96,3.29),(6.17,3.29),(6.17,1.89),(5.96,1.89)],
  [(0.175,4.09),(0.175,4.41),(0.335,4.41),(0.335,4.09),(0.175,4.09)],
  [(0.175,2.97),(0.175,3.29),(0.335,3.29),(0.335,2.97),(0.175,2.97)],
  [(5.985,1.89),(5.985,2.21),(6.145,2.21),(6.145,1.89),(5.985,1.89)],
  [(5.53,3.51),(5.53,3.83),(5.74,3.83),(5.74,3.51),(5.53,3.51)],
  [(1.23,1.35),(1.23,4.41),(1.44,4.41),(1.44,1.35),(1.23,1.35)],
  [(5.775,3.51),(5.775,3.83),(5.935,3.83),(5.935,3.51),(5.775,3.51)],
  [(1.255,4.09),(1.255,4.42),(1.415,4.42),(1.415,4.09),(1.255,4.09)],
  [(2.925,3.51),(2.925,3.83),(3.085,3.83),(3.085,3.51),(2.925,3.51)],
  [(3.355,2.43),(3.355,2.75),(3.515,2.75),(3.515,2.43),(3.355,2.43)],
  [(3.33,3.51),(3.33,3.83),(3.54,3.83),(3.54,3.51),(3.33,3.51)],
  [(1.23,2.43),(1.23,2.75),(1.44,2.75),(1.44,2.43),(1.23,2.43)],
  [(1.335,2.43),(1.335,2.75),(1.475,2.75),(1.475,2.43),(1.335,2.43)],
  [(1.255,4.09),(1.255,4.41),(1.415,4.41),(1.415,4.09),(1.255,4.09)],
  [(1.395,2.43),(1.395,2.75),(1.555,2.75),(1.555,2.43),(1.395,2.43)],
  [(3.005,3.51),(3.005,3.83),(3.435,3.83),(3.435,3.51),(3.005,3.51)],
  [(3.33,2.43),(3.33,3.83),(3.54,3.83),(3.54,2.43),(3.33,2.43)],
  [(1.255,1.35),(1.255,1.67),(1.415,1.67),(1.415,1.35),(1.255,1.35)],
  [(5.555,2.43),(5.555,2.75),(5.715,2.75),(5.715,2.43),(5.555,2.43)],
  [(5.635,3.51),(5.635,3.83),(5.855,3.83),(5.855,3.51),(5.635,3.51)],
  [(1.255,1.34),(1.255,1.67),(1.415,1.67),(1.415,1.34),(1.255,1.34)],
  [(5.53,2.43),(5.53,3.83),(5.74,3.83),(5.74,2.43),(5.53,2.43)],
  [(1.845,4.09),(1.845,4.42),(2.495,4.42),(2.495,4.09),(1.845,4.09)],
  [(1.765,4.09),(1.765,4.41),(1.925,4.41),(1.925,4.09),(1.765,4.09)],
  [(2.39,1.35),(2.39,1.67),(2.6,1.67),(2.6,1.35),(2.39,1.35)],
  [(2.415,3.51),(2.415,3.83),(2.575,3.83),(2.575,3.51),(2.415,3.51)],
  [(2.415,1.89),(2.415,2.21),(2.575,2.21),(2.575,1.89),(2.415,1.89)],
  [(1.765,1.34),(1.765,1.67),(1.925,1.67),(1.925,1.34),(1.765,1.34)],
  [(1.765,1.35),(1.765,1.67),(1.925,1.67),(1.925,1.35),(1.765,1.35)],
  [(2.39,4.09),(2.39,4.41),(2.6,4.41),(2.6,4.09),(2.39,4.09)],
  [(1.765,4.09),(1.765,4.42),(1.925,4.42),(1.925,4.09),(1.765,4.09)],
  [(1.845,1.34),(1.845,1.67),(2.495,1.67),(2.495,1.34),(1.845,1.34)],
  [(2.39,1.35),(2.39,4.41),(2.6,4.41),(2.6,1.35),(2.39,1.35)],
  [(0.18,0.095),(0.18,0.415),(7.82,0.415),(7.82,0.095),(0.18,0.095)],
  [(4.235,0.96),(4.235,1.12),(4.555,1.12),(4.555,0.96),(4.235,0.96)],
  [(0.605,0.96),(0.605,1.12),(0.925,1.12),(0.925,0.96),(0.605,0.96)],
  [(6.605,0.96),(6.605,1.12),(6.925,1.12),(6.925,0.96),(6.605,0.96)],
  [(0,0),(0,1.12),(8,1.12),(8,0),(0,0)],
  [(2.195,0.96),(2.195,1.12),(2.515,1.12),(2.515,0.96),(2.195,0.96)],
  [(6.605,4.64),(6.605,4.8),(6.925,4.8),(6.925,4.64),(6.605,4.64)],
  [(0,4.64),(0,5.76),(8,5.76),(8,4.64),(0,4.64)],
  [(0.18,5.345),(0.18,5.665),(7.82,5.665),(7.82,5.345),(0.18,5.345)],
  [(0.605,4.64),(0.605,4.8),(0.925,4.8),(0.925,4.64),(0.605,4.64)],
  [(2.195,4.64),(2.195,4.8),(2.515,4.8),(2.515,4.64),(2.195,4.64)],
  [(4.235,4.64),(4.235,4.8),(4.555,4.8),(4.555,4.64),(4.235,4.64)],
  [(6.82,1.34),(6.82,4.42),(7.03,4.42),(7.03,1.34),(6.82,1.34)],
  [(6.845,2.97),(6.845,3.29),(7.005,3.29),(7.005,2.97),(6.845,2.97)],
  [(7.495,1.345),(7.495,1.665),(7.655,1.665),(7.655,1.345),(7.495,1.345)],
  [(7.495,4.075),(7.495,4.395),(7.655,4.395),(7.655,4.075),(7.495,4.075)],
  [(6.925,1.34),(6.925,1.67),(7.575,1.67),(7.575,1.34),(6.925,1.34)],
  [(7.495,4.05),(7.495,4.42),(7.655,4.42),(7.655,4.05),(7.495,4.05)],
  [(6.82,4.05),(6.82,4.37),(7.03,4.37),(7.03,4.05),(6.82,4.05)],
  [(6.845,1.89),(6.845,2.21),(7.005,2.21),(7.005,1.89),(6.845,1.89)],
  [(7.495,1.34),(7.495,1.67),(7.655,1.67),(7.655,1.34),(7.495,1.34)],
  [(6.925,4.05),(6.925,4.42),(7.575,4.42),(7.575,4.05),(6.925,4.05)],
  [(6.82,1.35),(6.82,1.67),(7.03,1.67),(7.03,1.35),(6.82,1.35)],
  [(0.605,2.43),(0.605,2.75),(0.765,2.75),(0.765,2.43),(0.605,2.43)],
  [(0.605,3.51),(0.605,3.83),(0.765,3.83),(0.765,3.51),(0.605,3.51)],
  [(0.58,1.34),(0.58,4.42),(0.79,4.42),(0.79,1.34),(0.58,1.34)],
  [(5.1,1.35),(5.1,4.41),(5.31,4.41),(5.31,1.35),(5.1,1.35)],
  [(4.215,1.89),(4.215,2.21),(4.375,2.21),(4.375,1.89),(4.215,1.89)],
  [(4.215,3.51),(4.215,3.83),(4.375,3.83),(4.375,3.51),(4.215,3.51)],
  [(5.125,4.09),(5.125,4.42),(5.285,4.42),(5.285,4.09),(5.125,4.09)],
  [(5.125,1.34),(5.125,1.67),(5.285,1.67),(5.285,1.34),(5.125,1.34)],
  [(5.125,4.09),(5.125,4.41),(5.285,4.41),(5.285,4.09),(5.125,4.09)],
  [(4.19,1.35),(4.19,1.67),(4.4,1.67),(4.4,1.35),(4.19,1.35)],
  [(4.295,1.34),(4.295,1.67),(5.205,1.67),(5.205,1.34),(4.295,1.34)],
  [(5.125,1.35),(5.125,1.67),(5.285,1.67),(5.285,1.35),(5.125,1.35)],
  [(4.19,1.35),(4.19,3.83),(4.4,3.83),(4.4,1.35),(4.19,1.35)],
  [(1.825,3.51),(1.825,3.83),(1.985,3.83),(1.985,3.51),(1.825,3.51)],
  [(1.8,1.89),(1.8,3.87),(2.01,3.87),(2.01,1.89),(1.8,1.89)],
  [(1.825,1.89),(1.825,2.21),(1.985,2.21),(1.985,1.89),(1.825,1.89)])
R(dff_x1, Metal1_pin, [(0,0,8,1.12), (0,0,8,1.12), (0.58,1.34,0.79,4.42), (0.58,1.34,0.79,4.42), (6.82,1.34,7.03,4.42), (6.82,1.34,7.03,4.42), (1.8,1.89,2.01,3.87), (1.8,1.89,2.01,3.87), (0,4.64,8,5.76), (0,4.64,8,5.76)])
P(dff_x1, pSD, [(1.735,3.79),(1.735,5.17),(2.465,5.17),(2.465,3.79),(1.735,3.79)],
  [(1.005,3.8),(1.005,4.7),(1.665,4.7),(1.665,3.8),(1.005,3.8)],
  [(3.585,3.79),(3.585,5.17),(4.185,5.17),(4.185,3.79),(3.585,3.79)],
  [(0.715,3.79),(0.715,5.17),(1.445,5.17),(1.445,3.79),(0.715,3.79)],
  [(1.515,3.79),(1.515,5.17),(2.175,5.17),(2.175,3.79),(1.515,3.79)],
  [(2.025,4.27),(2.025,5.17),(2.685,5.17),(2.685,4.27),(2.025,4.27)],
  [(5.605,3.79),(5.605,5.17),(6.335,5.17),(6.335,3.79),(5.605,3.79)],
  [(2.645,3.91),(2.645,5.05),(3.595,5.05),(3.595,3.91),(2.645,3.91)],
  [(1.515,3.8),(1.515,4.7),(2.175,4.7),(2.175,3.8),(1.515,3.8)],
  [(3.155,3.91),(3.155,5.05),(4.105,5.05),(4.105,3.91),(3.155,3.91)],
  [(3.265,3.79),(3.265,5.17),(3.995,5.17),(3.995,3.79),(3.265,3.79)],
  [(1.625,3.91),(1.625,5.05),(2.575,5.05),(2.575,3.91),(1.625,3.91)],
  [(6.955,3.59),(6.955,5.17),(7.685,5.17),(7.685,3.59),(6.955,3.59)],
  [(0.605,3.91),(0.605,5.05),(1.555,5.05),(1.555,3.91),(0.605,3.91)],
  [(5.095,3.79),(5.095,5.17),(5.825,5.17),(5.825,3.79),(5.095,3.79)],
  [(3.775,3.79),(3.775,5.17),(4.505,5.17),(4.505,3.79),(3.775,3.79)],
  [(4.875,3.79),(4.875,5.17),(5.535,5.17),(5.535,3.79),(4.875,3.79)],
  [(5.385,3.79),(5.385,5.17),(6.045,5.17),(6.045,3.79),(5.385,3.79)],
  [(6.115,3.79),(6.115,5.17),(6.845,5.17),(6.845,3.79),(6.115,3.79)],
  [(4.875,3.8),(4.875,4.7),(5.535,4.7),(5.535,3.8),(4.875,3.8)],
  [(1.005,3.79),(1.005,5.17),(1.665,5.17),(1.665,3.79),(1.005,3.79)],
  [(5.385,3.8),(5.385,4.7),(6.045,4.7),(6.045,3.8),(5.385,3.8)],
  [(2.755,3.79),(2.755,5.17),(3.485,5.17),(3.485,3.79),(2.755,3.79)],
  [(4.645,3.79),(4.645,5.17),(5.505,5.17),(5.505,3.79),(4.645,3.79)],
  [(3.665,3.91),(3.665,5.05),(4.615,5.05),(4.615,3.91),(3.665,3.91)],
  [(4.065,4.27),(4.065,5.17),(4.725,5.17),(4.725,4.27),(4.065,4.27)],
  [(6.845,3.71),(6.845,5.05),(7.795,5.05),(7.795,3.71),(6.845,3.71)],
  [(0.035,3.91),(0.035,5.05),(0.985,5.05),(0.985,3.91),(0.035,3.91)],
  [(3.045,3.8),(3.045,4.7),(3.705,4.7),(3.705,3.8),(3.045,3.8)],
  [(2.025,3.79),(2.025,5.17),(2.685,5.17),(2.685,3.79),(2.025,3.79)],
  [(0.145,3.79),(0.145,5.17),(0.875,5.17),(0.875,3.79),(0.145,3.79)],
  [(1.515,3.79),(1.515,5.17),(2.145,5.17),(2.145,3.79),(1.515,3.79)],
  [(2.135,3.91),(2.135,5.05),(3.085,5.05),(3.085,3.91),(2.135,3.91)],
  [(6.435,3.59),(6.435,5.17),(7.365,5.17),(7.365,3.59),(6.435,3.59)],
  [(-0.075,3.79),(-0.075,5.17),(0.555,5.17),(0.555,3.79),(-0.075,3.79)],
  [(6.435,3.59),(6.435,5.17),(7.095,5.17),(7.095,3.59),(6.435,3.59)],
  [(-0.075,2.86),(-0.075,5.17),(8.075,5.17),(8.075,2.86),(-0.075,2.86)],
  [(-0.075,3.8),(-0.075,4.7),(0.585,4.7),(0.585,3.8),(-0.075,3.8)],
  [(4.065,3.79),(4.065,5.17),(4.725,5.17),(4.725,3.79),(4.065,3.79)],
  [(-0.075,3.79),(-0.075,5.17),(0.585,5.17),(0.585,3.79),(-0.075,3.79)],
  [(2.565,3.79),(2.565,5.17),(3.165,5.17),(3.165,3.79),(2.565,3.79)],
  [(5.415,3.79),(5.415,5.17),(6.015,5.17),(6.015,3.79),(5.415,3.79)],
  [(4.985,3.91),(4.985,5.05),(5.935,5.05),(5.935,3.91),(4.985,3.91)],
  [(7.245,3.59),(7.245,5.17),(7.905,5.17),(7.905,3.59),(7.245,3.59)],
  [(0.435,3.79),(0.435,5.17),(1.095,5.17),(1.095,3.79),(0.435,3.79)],
  [(6.435,4.27),(6.435,5.17),(7.095,5.17),(7.095,4.27),(6.435,4.27)],
  [(3.045,3.79),(3.045,5.17),(3.705,5.17),(3.705,3.79),(3.045,3.79)],
  [(1.035,3.79),(1.035,5.17),(1.665,5.17),(1.665,3.79),(1.035,3.79)],
  [(6.005,3.91),(6.005,5.05),(6.955,5.05),(6.955,3.91),(6.005,3.91)],
  [(7.245,3.785),(7.245,4.685),(7.905,4.685),(7.905,3.785),(7.245,3.785)],
  [(-0.075,-0.075),(-0.075,0.585),(8.075,0.585),(8.075,-0.075),(-0.075,-0.075)],
  [(4.325,3.79),(4.325,5.17),(5.055,5.17),(5.055,3.79),(4.325,3.79)],
  [(7.275,3.59),(7.275,5.17),(7.905,5.17),(7.905,3.59),(7.275,3.59)],
  [(4.095,3.79),(4.095,5.17),(4.735,5.17),(4.735,3.79),(4.095,3.79)],
  [(5.925,3.79),(5.925,5.17),(6.525,5.17),(6.525,3.79),(5.925,3.79)],
  [(5.86,3.79),(5.86,5.17),(6.59,5.17),(6.59,3.79),(5.86,3.79)],
  [(5.495,3.91),(5.495,5.05),(6.445,5.05),(6.445,3.91),(5.495,3.91)],
  [(2.5,3.79),(2.5,5.17),(3.23,5.17),(3.23,3.79),(2.5,3.79)],
  [(3.075,3.79),(3.075,5.17),(3.675,5.17),(3.675,3.79),(3.075,3.79)],
  [(0.435,4.27),(0.435,5.17),(1.095,5.17),(1.095,4.27),(0.435,4.27)],
  [(3.52,3.79),(3.52,5.17),(4.25,5.17),(4.25,3.79),(3.52,3.79)],
  [(2.245,3.79),(2.245,5.17),(2.975,5.17),(2.975,3.79),(2.245,3.79)],
  [(-0.07,-0.075),(-0.07,0.585),(8.07,0.585),(8.07,-0.075),(-0.07,-0.075)],
  [(4.215,3.91),(4.215,5.05),(5.165,5.05),(5.165,3.91),(4.215,3.91)],
  [(2.055,3.79),(2.055,5.17),(2.655,5.17),(2.655,3.79),(2.055,3.79)],
  [(0.465,3.79),(0.465,5.17),(1.125,5.17),(1.125,3.79),(0.465,3.79)])
P(dff_x1, NWell, [(4.855,3.78),(4.855,5.18),(6.065,5.18),(6.065,3.78),(4.855,3.78)],
  [(0.305,3.78),(0.305,5.18),(1.225,5.18),(1.225,3.78),(0.305,3.78)],
  [(6.305,3.58),(6.305,5.18),(7.495,5.18),(7.495,3.58),(6.305,3.58)],
  [(5.255,3.78),(5.255,5.18),(6.175,5.18),(6.175,3.78),(5.255,3.78)],
  [(3.935,4.26),(3.935,5.18),(4.855,5.18),(4.855,4.26),(3.935,4.26)],
  [(2.945,3.78),(2.945,5.18),(3.805,5.18),(3.805,3.78),(2.945,3.78)],
  [(4.085,3.78),(4.085,5.18),(5.295,5.18),(5.295,3.78),(4.085,3.78)],
  [(0.335,3.78),(0.335,5.18),(1.255,5.18),(1.255,3.78),(0.335,3.78)],
  [(5.255,3.79),(5.255,4.71),(6.175,4.71),(6.175,3.79),(5.255,3.79)],
  [(5.365,3.78),(5.365,5.18),(6.575,5.18),(6.575,3.78),(5.365,3.78)],
  [(6.715,3.58),(6.715,5.18),(7.925,5.18),(7.925,3.58),(6.715,3.58)],
  [(2.915,3.79),(2.915,4.71),(3.835,4.71),(3.835,3.79),(2.915,3.79)],
  [(3.935,3.78),(3.935,5.18),(4.855,5.18),(4.855,3.78),(3.935,3.78)],
  [(7.145,3.58),(7.145,5.18),(8.035,5.18),(8.035,3.58),(7.145,3.58)],
  [(5.795,3.78),(5.795,5.18),(6.655,5.18),(6.655,3.78),(5.795,3.78)],
  [(3.535,3.78),(3.535,5.18),(4.745,5.18),(4.745,3.78),(3.535,3.78)],
  [(2.37,3.78),(2.37,5.18),(3.36,5.18),(3.36,3.78),(2.37,3.78)],
  [(7.115,3.775),(7.115,4.695),(8.035,4.695),(8.035,3.775),(7.115,3.775)],
  [(2.435,3.78),(2.435,5.18),(3.295,5.18),(3.295,3.78),(2.435,3.78)],
  [(5.875,3.78),(5.875,5.18),(7.085,5.18),(7.085,3.78),(5.875,3.78)],
  [(-0.205,3.78),(-0.205,5.18),(0.715,5.18),(0.715,3.78),(-0.205,3.78)],
  [(1.385,3.78),(1.385,5.18),(2.305,5.18),(2.305,3.78),(1.385,3.78)],
  [(2.915,3.78),(2.915,5.18),(3.835,5.18),(3.835,3.78),(2.915,3.78)],
  [(2.515,3.78),(2.515,5.18),(3.725,5.18),(3.725,3.78),(2.515,3.78)],
  [(3.455,3.78),(3.455,5.18),(4.315,5.18),(4.315,3.78),(3.455,3.78)],
  [(-0.205,3.79),(-0.205,4.71),(0.715,4.71),(0.715,3.79),(-0.205,3.79)],
  [(-0.205,5.045),(-0.205,5.965),(8.205,5.965),(8.205,5.045),(-0.205,5.045)],
  [(2.005,3.78),(2.005,5.18),(3.215,5.18),(3.215,3.78),(2.005,3.78)],
  [(-0.31,2.86),(-0.31,6.07),(8.31,6.07),(8.31,2.86),(-0.31,2.86)],
  [(7.115,3.58),(7.115,5.18),(8.035,5.18),(8.035,3.58),(7.115,3.58)],
  [(0.475,3.78),(0.475,5.18),(1.685,5.18),(1.685,3.78),(0.475,3.78)],
  [(5.285,3.78),(5.285,5.18),(6.145,5.18),(6.145,3.78),(5.285,3.78)],
  [(1.925,3.78),(1.925,5.18),(2.785,5.18),(2.785,3.78),(1.925,3.78)],
  [(-0.095,3.78),(-0.095,5.18),(1.115,5.18),(1.115,3.78),(-0.095,3.78)],
  [(0.875,3.78),(0.875,5.18),(1.795,5.18),(1.795,3.78),(0.875,3.78)],
  [(-0.2,5.045),(-0.2,5.965),(8.2,5.965),(8.2,5.045),(-0.2,5.045)],
  [(0.905,3.78),(0.905,5.18),(1.795,5.18),(1.795,3.78),(0.905,3.78)],
  [(1.895,3.78),(1.895,5.18),(2.815,5.18),(2.815,3.78),(1.895,3.78)],
  [(-0.205,3.78),(-0.205,5.18),(0.685,5.18),(0.685,3.78),(-0.205,3.78)],
  [(1.385,3.79),(1.385,4.71),(2.305,4.71),(2.305,3.79),(1.385,3.79)],
  [(5.73,3.78),(5.73,5.18),(6.72,5.18),(6.72,3.78),(5.73,3.78)],
  [(6.305,4.26),(6.305,5.18),(7.225,5.18),(7.225,4.26),(6.305,4.26)],
  [(0.875,3.79),(0.875,4.71),(1.795,4.71),(1.795,3.79),(0.875,3.79)],
  [(1.495,3.78),(1.495,5.18),(2.705,5.18),(2.705,3.78),(1.495,3.78)],
  [(4.515,3.78),(4.515,5.18),(5.635,5.18),(5.635,3.78),(4.515,3.78)],
  [(1.895,4.26),(1.895,5.18),(2.815,5.18),(2.815,4.26),(1.895,4.26)],
  [(0.305,4.26),(0.305,5.18),(1.225,5.18),(1.225,4.26),(0.305,4.26)],
  [(3.025,3.78),(3.025,5.18),(4.235,5.18),(4.235,3.78),(3.025,3.78)],
  [(3.39,3.78),(3.39,5.18),(4.38,5.18),(4.38,3.78),(3.39,3.78)],
  [(3.965,3.78),(3.965,5.18),(4.865,5.18),(4.865,3.78),(3.965,3.78)],
  [(1.385,3.78),(1.385,5.18),(2.275,5.18),(2.275,3.78),(1.385,3.78)],
  [(6.305,3.58),(6.305,5.18),(7.225,5.18),(7.225,3.58),(6.305,3.58)],
  [(4.745,3.78),(4.745,5.18),(5.665,5.18),(5.665,3.78),(4.745,3.78)],
  [(4.745,3.79),(4.745,4.71),(5.665,4.71),(5.665,3.79),(4.745,3.79)])
dff_x1.add(gdstk.Label('vss', (4,0.56), layer=8, texttype=25))
dff_x1.add(gdstk.Label('vdd', (4,5.2), layer=8, texttype=25))
dff_x1.add(gdstk.Label('q', (6.925,2.88), layer=8, texttype=25))
dff_x1.add(gdstk.Label('clk', (0.685,2.88), layer=8, texttype=25))
dff_x1.add(gdstk.Label('i', (1.905,2.88), layer=8, texttype=25))

lib.write_gds('dff_x1.gds')
